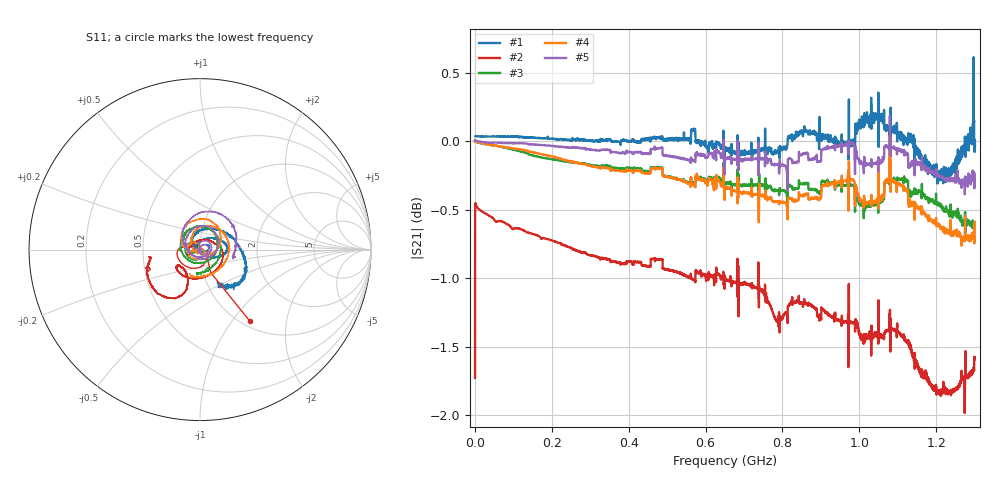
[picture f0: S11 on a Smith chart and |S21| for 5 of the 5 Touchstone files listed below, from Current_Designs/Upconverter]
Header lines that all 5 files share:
! ListType=Lin
# MHZ S DB R 50
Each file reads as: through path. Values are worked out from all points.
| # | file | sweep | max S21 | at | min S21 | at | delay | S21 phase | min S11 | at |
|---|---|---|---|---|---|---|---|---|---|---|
| 1 | ImpedanceDiscontinuityTesting-BNC_75ohm_Thru-VNWA_Data.s2p | 1 MHz to 1.301 GHz | 0.61 dB | 1.297 GHz | -0.3 dB | 1.203 GHz | 222 ps | -53 deg at 651.3 MHz | -43.3 dB | 907.3 MHz |
| 2 | Upconverter_Passthrough_Testing_Results-VNWA_Data.s2p | 100 kHz to 1.3 GHz | -0.45 dB | 1.37 MHz | -2.0 dB | 1.274 GHz | 729 ps | -172 deg at 650.2 MHz | -27.9 dB | 14.07 MHz |
| 3 | Upconverter_Testing-PCB_Impedance_Testing-CONSMA003.062-VNWA_Data.s2p | 10 kHz to 1.3 GHz | 0.00 dB | 645.1 kHz | -0.7 dB | 1.299 GHz | 585 ps | -138 deg at 650.3 MHz | -51.8 dB | 24.14 MHz |
| 4 | Upconverter_Testing-PCB_Impedance_Testing-Production_SMA_Connectors-VNWA_Data.s2p | 10 kHz to 1.3 GHz | 0.04 dB | 1.08 GHz | -0.8 dB | 1.266 GHz | 608 ps | -144 deg at 650.3 MHz | -49.8 dB | 5.091 MHz |
| 5 | Upconverter_Testing-PCB_Impedance_Testing-SMA_Cable-VNWA_Data.s2p | 10 kHz to 1.3 GHz | 0.18 dB | 1.08 GHz | -0.4 dB | 1.275 GHz | 538 ps | -127 deg at 650.3 MHz | -48.2 dB | 1.915 MHz |
